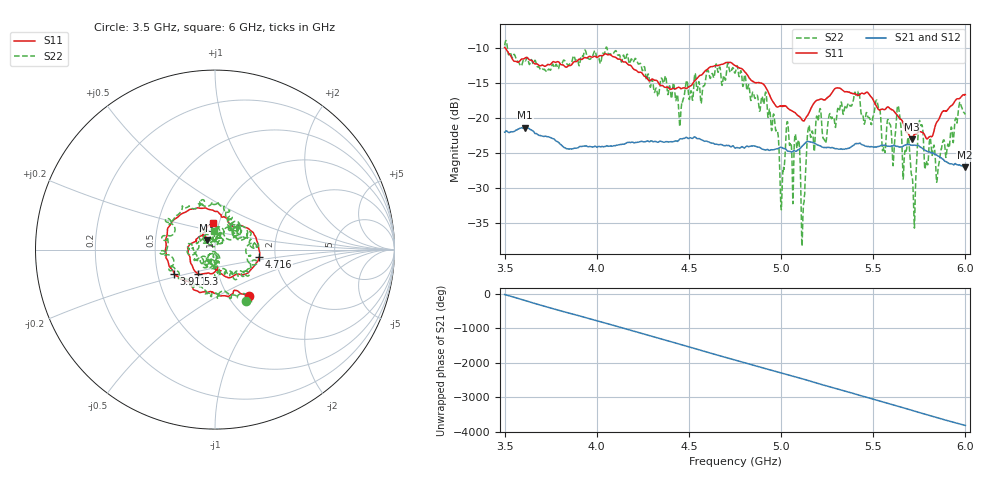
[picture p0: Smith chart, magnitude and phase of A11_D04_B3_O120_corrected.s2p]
! Created with skrf 1.9.0 (http://scikit-rf.org).
# Hz S RI R 50.0
!freq ReS11 ImS11 ReS21 ImS21 ReS12 ImS12 ReS22 ImS22
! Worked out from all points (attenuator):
!   1601 points, 3.5 GHz to 6 GHz, reference 50 ohm
!   highest |S21| = -21.34 dB at 3.611 GHz (marker M1); lowest = -27.0 dB at 5.997 GHz (marker M2)
!   lowest |S11| = -23.0 dB at 5.708 GHz (marker M3), VSWR 1.15, Z = 45.3 + j4.85 ohm
!   |S11| at or under -10 dB: 3.505 GHz to end of sweep
!   |S22| runs from -38.3 to -8.9 dB; largest |S21 - S12| = 0.001
!   S11 on the Smith chart (normalised r, x): 3.5 GHz: 1.25, -0.71; 3.911 GHz: 0.61, -0.18; 4.716 GHz: 1.65, -0.14; 5.3 GHz: 0.80, -0.22; 6 GHz: 0.94, +0.28
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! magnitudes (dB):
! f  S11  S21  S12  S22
! 3.5 GHz  -9.9  -22.0  -22.0  -9.6
! 3.611 GHz  -11.4  -21.3  -21.3  -11.8
! 3.911 GHz  -11.6  -24.0  -24.0  -11.6
! 3.917 GHz  -11.6  -24.0  -24.0  -11.0
! 4.334 GHz  -14.9  -23.4  -23.3  -16.8
! 4.716 GHz  -12.0  -23.9  -23.9  -12.5
! 4.75 GHz  -12.5  -24.3  -24.2  -13.6
! 4.912 GHz  -15.4  -24.5  -24.5  -16.7
! 5.005 GHz  -18.2  -24.2  -24.2  -30.4
! 5.034 GHz  -18.5  -24.7  -24.6  -20.5
! 5.088 GHz  -19.5  -24.6  -24.6  -24.2
! 5.119 GHz  -20.4  -23.9  -23.8  -33.8
! 5.167 GHz  -18.3  -23.4  -23.4  -22.0
! 5.3 GHz  -15.7  -24.3  -24.3  -20.1
! 5.584 GHz  -18.4  -24.0  -23.9  -20.4
! 5.639 GHz  -19.9  -24.1  -24.0  -18.7
! 5.708 GHz  -23.0  -23.8  -23.8  -28.0
! 5.725 GHz  -22.3  -23.8  -23.8  -34.6
! 5.756 GHz  -21.9  -24.1  -24.0  -20.9
! 5.85 GHz  -20.4  -25.4  -25.3  -27.7
! 5.997 GHz  -16.7  -27.0  -26.9  -19.3
! 6 GHz  -16.6  -27.0  -26.9  -19.5
